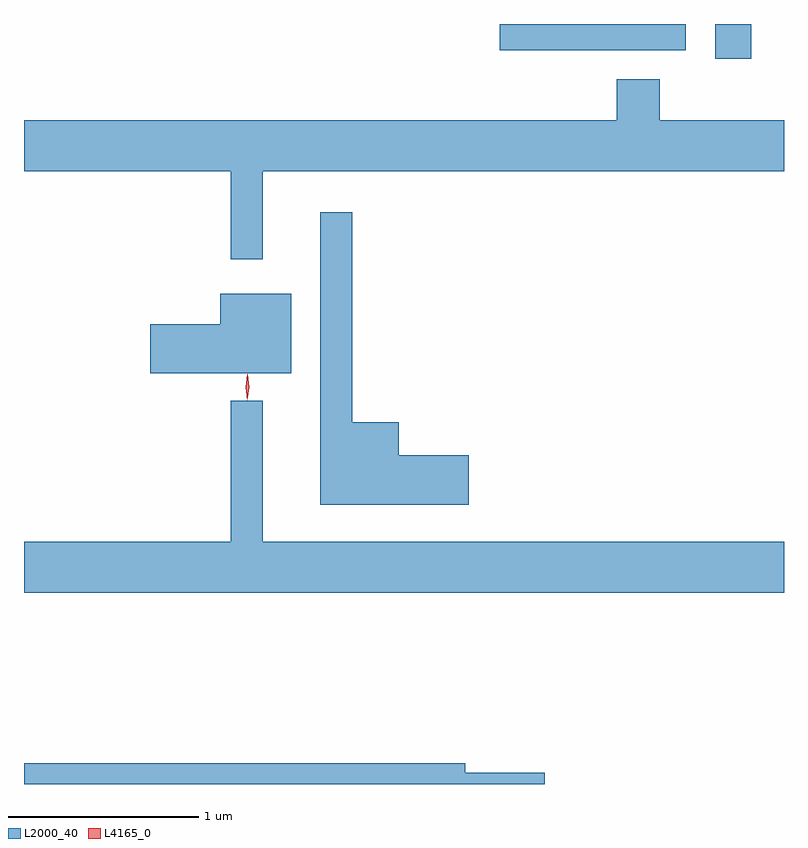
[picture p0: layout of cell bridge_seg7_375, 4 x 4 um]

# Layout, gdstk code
import gdstk
lib = gdstk.Library(unit=1e-6, precision=1e-09)
def R(c, l, rs):  # rectangles x0, y0, x1, y1
    for r in rs: c.add(gdstk.rectangle(r[:2], r[2:], *l))
def P(c, l, *ps):  # polygons
    for p in ps: c.add(gdstk.Polygon(p, *l))
L2000_40 = (2000, 40)
L4165_0 = (4165, 0)

bridge_seg7_375 = lib.new_cell('bridge_seg7_375')
R(bridge_seg7_375, L2000_40, [(1069.641,1797.046,1069.829,1797.23), (1068.506,1797.091,1069.484,1797.23)])
P(bridge_seg7_375, L2000_40, [(1067.259,1796.456),(1070.002,1796.456),(1070.002,1796.724),(1069.349,1796.724),(1069.349,1796.939),(1069.121,1796.939),(1069.121,1796.724),(1066.002,1796.724),(1066.002,1796.456),(1067.091,1796.456),(1067.091,1795.993),(1067.259,1795.993)],
  [(1068.344,1794.959),(1067.974,1794.959),(1067.974,1795.134),(1067.729,1795.134),(1067.729,1796.238),(1067.561,1796.238),(1067.561,1794.701),(1068.344,1794.701)],
  [(1067.409,1795.809),(1067.036,1795.809),(1067.036,1795.649),(1066.666,1795.649),(1066.666,1795.391),(1067.409,1795.391)],
  [(1070.002,1794.504),(1067.259,1794.504),(1067.259,1795.248),(1067.091,1795.248),(1067.091,1794.504),(1066.002,1794.504),(1066.002,1794.236),(1070.002,1794.236)],
  [(1068.744,1793.289),(1068.324,1793.289),(1068.324,1793.339),(1066.002,1793.339),(1066.002,1793.23),(1068.744,1793.23)])
P(bridge_seg7_375, L4165_0, [(1067.176,1795.25),(1067.168,1795.318),(1067.178,1795.386),(1067.178,1795.386),(1067.179,1795.386),(1067.187,1795.318),(1067.177,1795.25),(1067.177,1795.25)],
  [(1067.176,1795.253),(1067.168,1795.316),(1067.178,1795.379),(1067.179,1795.38),(1067.179,1795.379),(1067.188,1795.316),(1067.177,1795.253),(1067.177,1795.253)])

lib.write_gds('bridge_seg7_375.gds')
